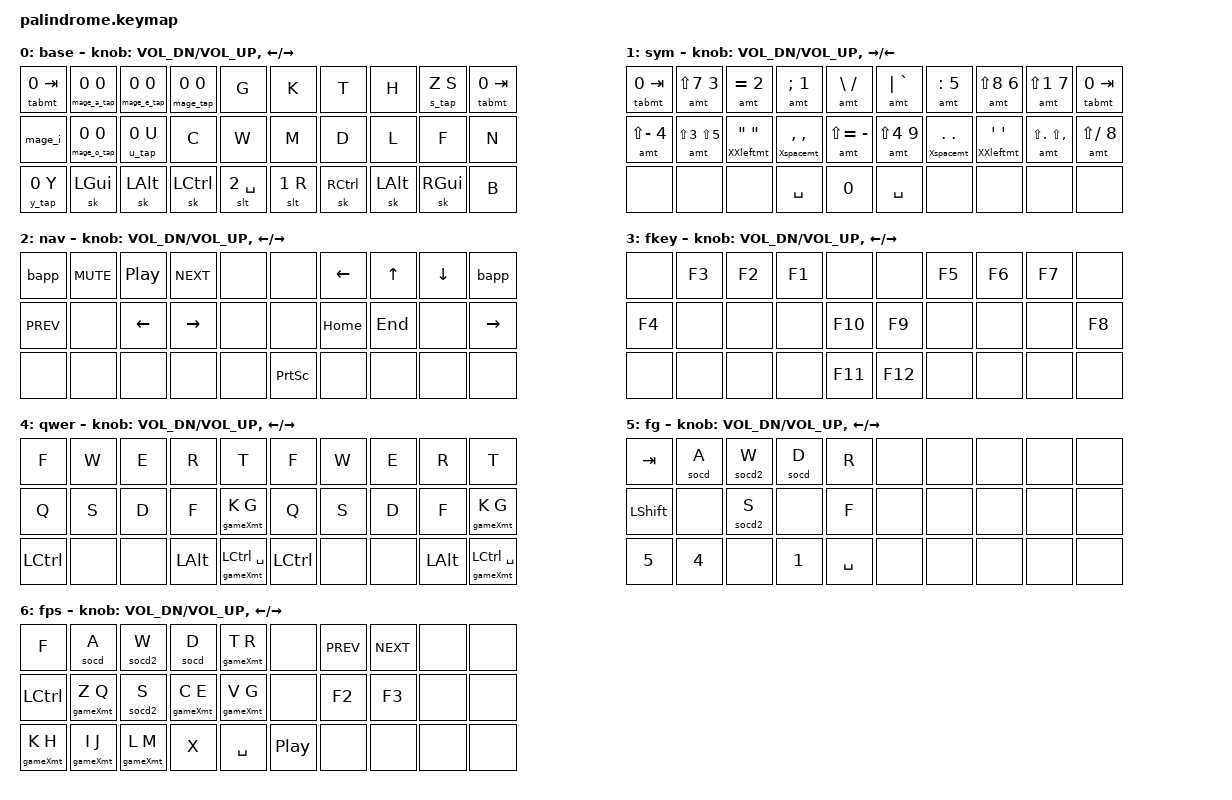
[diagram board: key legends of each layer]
#include "fingermap.h"

/ { 
behaviors { // -----------------------------------------------------------------------------------------------
        hml: home_row_mod_l { 		hold-trigger-key-positions = <  >; 		};
		hmr: home_row_mod_r { 		hold-trigger-key-positions = <  >; 	 }; };
// -----------------------------------------------------------------------------------------------------------

keymap { compatible = "zmk,keymap";
		zero 	{ display-name = "base"; // -------------------
			bindings = < &tabmt 0 TAB  	&mage_a_tap 0 0	&mage_e_tap 0 0	&mage_tap 0 0  	&kp G 				&kp K 	&kp T 		&kp H 		&s_tap Z S	&tabmt 0 TAB
                         &mage_i  		&mage_o_tap 0 0	&u_tap 0 U 		&kp C		  	&kp W 				&kp M  	&kp D  		&kp L   	&kp F		&kp N 
						 &y_tap 0 Y 	&sk LGUI		&sk LALT  		&sk LCTRL  		&slt 2 SPACE 		&slt 1 R &sk RCTRL 	&sk LALT	&sk RGUI	&kp B >;
            sensor-bindings = < &inc_dec_kp C_VOL_DN C_VOL_UP &inc_dec_kp LEFT RIGHT >; };
		one 	{ display-name = "sym"; // --------------------
			bindings = < &tabmt 0 TAB 		&amt LS(N7) N3 		&amt EQUAL N2 		&amt SEMI N1 			&amt BSLH FSLH 				&amt PIPE GRAVE	&amt COLON N5 		&amt LS(N8) N6 			&amt LS(N1) N7 			&tabmt 0 TAB
                     	 &amt LS(MINUS) N4 	&amt LS(N3) LS(N5) 	&XXleftmt DQT DQT 	&Xspacemt COMMA COMMA	&amt LS(EQUAL) MINUS 		&amt LS(N4) N9 	&Xspacemt DOT DOT 	&XXleftmt APOS APOS 	&amt LS(DOT) LS(COMMA) 	&amt LS(FSLH) N8
                     	 &none 				&none 				&none 				&kp SPACE 				&kp N0  					&kp SPACE		&none 				&none 					&none 					&none >; 
            sensor-bindings = < &inc_dec_kp C_VOL_DN C_VOL_UP &inc_dec_kp RIGHT LEFT >; };
		two 	{ display-name = "nav"; // ------------------
			bindings = < &bapp	 	&kp C_MUTE 	&kp C_PP 	&kp C_NEXT 	&none 	&none 		&kp LEFT 	&kp UP 	&kp DOWN 	&bapp
                     	 &kp C_PREV &none 		&kp LEFT	&kp RIGHT	&none 	&none 		&kp HOME	&kp END	&none 		&kp RIGHT
                     	 &none 		&none 		&none 		&none 		&none 	&kp PSCRN 	&none 		&none 	&none 		&none >; 
            sensor-bindings = < &inc_dec_kp C_VOL_DN C_VOL_UP &inc_dec_kp LEFT RIGHT >; };
		three 	{ display-name = "fkey"; // -------------------
			bindings = < &none 	&kp F3 	&kp F2 	&kp F1 	&none  	&none 	&kp F5 	&kp F6 	&kp F7 	&none
                         &kp F4 &none 	&none 	&none 	&kp F10 &kp F9 	&none 	&none 	&none 	&kp F8
                         &none 	&none 	&none 	&none 	&kp F11 &kp F12	&none 	&none 	&none 	&none >;
            sensor-bindings = < &inc_dec_kp C_VOL_DN C_VOL_UP &inc_dec_kp LEFT RIGHT >; };
		four 	{ display-name = "qwer"; // ----------------------
			bindings = < &kp F	 	&kp W 	&kp E 	&kp R 		&kp T 					&kp F	 	&kp W 	&kp E 	&kp R 		&kp T 
                     	 &kp Q 		&kp S	&kp D 	&kp F 		&gameXmt K G 			&kp Q 		&kp S	&kp D 	&kp F 		&gameXmt K G
                     	 &kp LCTRL 	&none 	&none 	&kp LALT 	&gameXmt LCTRL SPACE 	&kp LCTRL 	&none 	&none 	&kp LALT 	&gameXmt LCTRL SPACE >; 
            sensor-bindings = < &inc_dec_kp C_VOL_DN C_VOL_UP &inc_dec_kp LEFT RIGHT >; };
		five 	{ display-name = "fg"; // -----------------
			bindings = < &kp TAB 	&socd A 	&socd2 W 	&socd D 	&kp R 		&none &none &none &none &none 
						 &kp LSHIFT &none 		&socd2 S	&none 		&kp F 		&none &none &none &none &none
						 &kp N5		&kp N4 		&none 		&kp N1 		&kp SPACE 	&none &none &none &none &none >; 
            sensor-bindings = < &inc_dec_kp C_VOL_DN C_VOL_UP &inc_dec_kp LEFT RIGHT >; };
		six 	{ display-name = "fps"; // ------------------------
			bindings = < &kp F 			&socd A			&socd2 W		&socd D			&gameXmt T R 	&none 		&kp C_PREV	&kp	C_NEXT	&none 	&none
                    	 &kp LCTRL 		&gameXmt Z Q 	&socd2 S		&gameXmt C E 	&gameXmt V G 	&none	 	&kp F2		&kp F3		&none 	&none
                    	 &gameXmt K H 	&gameXmt I J	&gameXmt L M	&kp X 			&kp SPACE 		&kp C_PP	&none		&none		&none 	&none >; 
            sensor-bindings = < &inc_dec_kp C_VOL_DN C_VOL_UP &inc_dec_kp LEFT RIGHT >; }; };

combos { compatible = "zmk,combos";
        // alphas ----------------------------------------------------------------------------------------------------------------------------------------
		cbo_z 				{ timeout-ms = <40>; 	key-positions = < 1 11		>; 	bindings = <	&kp Z				>;	layers = <	0			>; 	};
		cbo_q 				{ timeout-ms = <40>; 	key-positions = < 2 12		>; 	bindings = <	&kp Q				>;	layers = <	0			>; 	};
		cbo_p 				{ timeout-ms = <40>; 	key-positions = < 4 14		>; 	bindings = <	&p_tap 0 P			>; 	layers = <	0			>; 	};
		cbo_x 				{ timeout-ms = <40>; 	key-positions = < 5 15		>; 	bindings = <	&kp X				>;	layers = <	0			>; 	};
		cbo_j 				{ timeout-ms = <40>; 	key-positions = < 7 17		>; 	bindings = <	&kp J				>;	layers = <	0			>; 	};
		cbo_v 				{ timeout-ms = <40>; 	key-positions = < 8 18		>; 	bindings = <	&kp V				>;	layers = <	0			>; 	};
		// symbols ---------------------------------------------------------------------------------------------------------------------------------------
		u_cbo_left 			{ timeout-ms = <25>; 	key-positions = < 10 6		>; 	bindings = <	&uc 0x2190 0x2190	>; 	layers = <	1			>;	};
		u_cbo_up 			{ timeout-ms = <25>; 	key-positions = < 2 7		>;	bindings = <	&uc 0x2191 0x2191	>; 	layers = <	1			>;	};
		u_cbo_down 			{ timeout-ms = <25>; 	key-positions = < 1 8		>; 	bindings = <	&uc 0x2193 0x2193	>; 	layers = <	1			>;	};
		u_cbo_right 		{ timeout-ms = <25>; 	key-positions = < 3 19		>; 	bindings = <	&uc 0x2192 0x2192	>;	layers = <	1			>;	};

		cbo_at_caret		{ timeout-ms = <40>; 	key-positions = < 3 13		>; 	bindings = <	&amt LS(N6) LS(N2)	>;	layers = <	1			>; 	};
		cbo_tilde			{ timeout-ms = <40>; 	key-positions = < 2 12		>; 	bindings = <	&kp LS(GRAVE)		>; 	layers = <	1			>; 	};

		cbo_pipe_grave		{ timeout-ms = <40>; 	key-positions = < 6 16		>; 	bindings = <	&amt RPAR LPAR		>;	layers = <	1			>; 	};
		cbo_curlies			{ timeout-ms = <40>; 	key-positions = < 7 17		>; 	bindings = <	&amt RBRC LBRC 		>;	layers = <	1			>; 	};
		cbo_squares			{ timeout-ms = <40>; 	key-positions = < 8 18		>; 	bindings = <	&amt RBKT LBKT		>;	layers = <	1			>; 	};
		// mods ------------------------------------------------------------------------------------------------------------------------------------------
		cbo_shift_l  		{ timeout-ms = <20>; 	key-positions = < 3 13		>; 	bindings = <	&sk LSHIFT			>;  layers = <	0 			>; 	};
		cbo_shift_r			{ timeout-ms = <20>; 	key-positions = < 6 16		>; 	bindings = <	&sk RSHIFT			>;  layers = <	0  			>; 	};

		cbo_del_l			{ timeout-ms = <20>; 	key-positions = < 2 3		>; 	bindings = <	&amt LC(DEL) DEL	>; 	layers = <	0 1 2		>; 	};
		cbo_back_l			{ timeout-ms = <20>; 	key-positions = < 1 3		>; 	bindings = <	&amt RC(BSPC) BSPC	>;	layers = <	0 1 2		>; 	};
		cbo_esc_l			{ timeout-ms = <20>; 	key-positions = < 1 2 3		>; 	bindings = <	&amt LC(ESC) ESC	>;	layers = <	0 1 2		>; 	};
		cbo_enter_l			{ timeout-ms = <20>; 	key-positions = < 1 2		>; 	bindings = <	&amt LS(RET) RET	>; 	layers = <	0 1 2		>; 	};
		cbo_back_r			{ timeout-ms = <20>; 	key-positions = < 6 7		>; 	bindings = <	&amt RC(BSPC) BSPC	>; 	layers = <	0 1 2		>; 	};
		cbo_del_r			{ timeout-ms = <20>; 	key-positions = < 6 8		>;	bindings = <	&amt LC(DEL) DEL	>; 	layers = <	0 1 2		>; 	};
		cbo_esc_r			{ timeout-ms = <20>; 	key-positions = < 6 7 8		>; 	bindings = <	&amt RC(ESC) ESC	>; 	layers = <	0 1 2		>; 	};
		cbo_enter_r			{ timeout-ms = <20>; 	key-positions = < 7 8		>; 	bindings = <	&amt RS(RET) RET	>; 	layers = <	0 1 2		>; 	};
		// arrows ---------------------------------------------------------------------------------------------------------------------------------------------------------------------
		cbo_left 			{ timeout-ms = <25>; 	key-positions = < 10 6		>; 	bindings = <	&amt LC(LEFT)  LEFT	>; 	layers = <	0			>; require-prior-idle-ms = <50>; };
		cbo_up 				{ timeout-ms = <25>; 	key-positions = < 2 7		>;	bindings = <	&amt LC(UP)    UP	>; 	layers = <	0			>; require-prior-idle-ms = <50>; };
		cbo_down 			{ timeout-ms = <25>; 	key-positions = < 1 8		>;	bindings = <	&amt LC(DOWN)  DOWN	>; 	layers = <	0			>; require-prior-idle-ms = <50>; };
		cbo_right 			{ timeout-ms = <25>; 	key-positions = < 3 19		>; 	bindings = <	&amt LC(RIGHT) RIGHT>;	layers = <	0			>; require-prior-idle-ms = <50>; };
		// layers ---------------------------------------------------------------------------------------------------------------------------------------------------------------------
		cbo_default 		{ timeout-ms = <40>;	key-positions = < 2 3 6 7	>;	bindings = <	&to 0				>; 								};
		cbo_default_l 		{ timeout-ms = <40>;	key-positions = < 1 2 3	10 	>;	bindings = <	&to 0				>; 	layers = <	4 5 6		>;	};
		cbo_default_r 		{ timeout-ms = <40>;	key-positions = < 6 7 8 15	>;	bindings = <	&to 0				>; 	layers = <	4 5 6		>;	};
		cbo_fps_l 			{ timeout-ms = <40>; 	key-positions = < 11 12 13	>; 	bindings = <	&to 6				>; 								};
		cbo_qwer_l			{ timeout-ms = <40>; 	key-positions = < 10 13		>; 	bindings = <	&to 4				>; 								};
		cbo_fg_l            { timeout-ms = <40>; 	key-positions = < 10 14		>; 	bindings = <	&to 5				>; 								};
		cbo_fps_r 			{ timeout-ms = <40>; 	key-positions = < 16 17 18	>; 	bindings = <	&to 6				>; 								};
		cbo_qwer_r			{ timeout-ms = <40>; 	key-positions = < 15 18		>; 	bindings = <	&to 4				>; 								};
		cbo_fg_r            { timeout-ms = <40>; 	key-positions = < 15 19		>; 	bindings = <	&to 5				>; 								};
		cbo_fkeys_l			{ timeout-ms = <40>; 	key-positions = < 10 4		>; 	bindings = <	&sl 3				>; 	layers = <	0 1 2		>; 	};
		cbo_fkeys_r 		{ timeout-ms = <40>; 	key-positions = < 5 19		>; 	bindings = <	&sl 3				>; 	layers = <	0 1 2		>; 	};
		// special ---------------------------------------------------------------------------------------------------------------------------------------
		cbo_numword 		{ timeout-ms = <20>; 	key-positions = < 10 3		>; 	bindings = <	&num_word 1			>;  layers = <	0 			>; 	};
		cbo_capsword 		{ timeout-ms = <20>; 	key-positions = < 6 19		>; 	bindings = <	&cmt CAPS 0			>;  layers = <	0 			>; 	};
		cbo_ctl_c  			{ timeout-ms = <20>; 	key-positions = < 2 12		>; 	bindings = <	&kp LC(C)			>;  layers = <	2 			>; 	};
		cbo_ctl_v			{ timeout-ms = <20>; 	key-positions = < 7 17		>; 	bindings = <	&kp LC(V)			>;  layers = <	2  			>; 	};
		cbo_ctl_z  			{ timeout-ms = <20>; 	key-positions = < 3 13		>; 	bindings = <	&kp LC(Z)			>;  layers = <	2 			>; 	};
		cbo_ctl_y			{ timeout-ms = <20>; 	key-positions = < 6 16		>; 	bindings = <	&kp LC(Y)			>;  layers = <	2  			>; 	};
		// window management ----------------------------------------------------------------------------------------------------------------------------------------------------------
		cbo_alwaysontop		{ timeout-ms = <20>; 	key-positions = < 12 13		>; 	bindings = <	&kp LC(LG(T))		>;  layers = <	0 1 2		>; require-prior-idle-ms = <50>; };
		cbo_textextractor	{ timeout-ms = <20>; 	key-positions = < 16 17		>; 	bindings = <	&kp LC(LG(E))		>;  layers = <	0 1 2		>; require-prior-idle-ms = <50>; };
		cbo_dsktop_right	{ timeout-ms = <20>; 	key-positions = < 3 7		>; 	bindings = <	&kp LC(LG(RIGHT))	>;  layers = <	0 1 2		>; require-prior-idle-ms = <50>; };
		cbo_dsktop_left		{ timeout-ms = <20>; 	key-positions = < 2 6		>; 	bindings = <	&kp LC(LG(LEFT))	>;  layers = <	0 1 2		>; require-prior-idle-ms = <50>; };
		cbo_tab_right		{ timeout-ms = <20>; 	key-positions = < 13 17		>; 	bindings = <	&kp LC(TAB)			>;  layers = <	0 1 2		>; require-prior-idle-ms = <50>; };
		cbo_tab_left		{ timeout-ms = <20>; 	key-positions = < 12 16		>; 	bindings = <	&kp LC(LS(TAB))		>;  layers = <	0 1 2		>; require-prior-idle-ms = <50>; };
		// game -----------------------------------------------------------------------------------------------------------------------------------------------------------------------
		g_cbo_discord		{ timeout-ms = <50>; 	key-positions = < 0 24		>; 	bindings = <	&kp LS(GRAVE)		>; 	layers = <	4 5 6		>; 	};

		g_cbo_tab_l			{ timeout-ms = <50>; 	key-positions = < 1 3		>; 	bindings = <	&kp TAB				>; 	layers = <	4 5 6		>; 	};
		g_cbo_esc_l			{ timeout-ms = <50>; 	key-positions = < 1 2 3		>; 	bindings = <	&kp ESC				>; 	layers = <	4 5 6		>; 	};

		qwer_cbo_1_l 		{ timeout-ms = <75>; 	key-positions = < 1 11		>; 	bindings = <	&kp N1				>; 	layers = <	4			>; 	};
		qwer_cbo_2_l 		{ timeout-ms = <75>; 	key-positions = < 2 12		>; 	bindings = <	&kp N2				>; 	layers = <	4			>; 	};
		qwer_cbo_3_l 		{ timeout-ms = <75>; 	key-positions = < 3 13		>; 	bindings = <	&kp N3				>; 	layers = <	4			>; 	};
		qwer_cbo_4_l 		{ timeout-ms = <75>; 	key-positions = < 4 14		>; 	bindings = <	&kp N4				>; 	layers = <	4			>; 	};

		fps_cbo_1_l 		{ timeout-ms = <75>; 	key-positions = < 3 13		>; 	bindings = <	&kp N1				>; 	layers = <	6			>; 	};
		fps_cbo_2_l 		{ timeout-ms = <75>; 	key-positions = < 1 11		>; 	bindings = <	&kp N2				>; 	layers = <	6			>; 	};
		fps_cbo_b_l			{ timeout-ms = <50>; 	key-positions = < 12 13		>; 	bindings = <	&kp B				>; 	layers = <	6 			>; 	};

		g_cbo_tab_r			{ timeout-ms = <50>; 	key-positions = < 6 8		>; 	bindings = <	&kp TAB				>; 	layers = <	4 5 6		>; 	};
		g_cbo_esc_r			{ timeout-ms = <50>; 	key-positions = < 6 7 8		>; 	bindings = <	&kp ESC				>; 	layers = <	4 5 6		>; 	};

		qwer_cbo_1_r 		{ timeout-ms = <75>; 	key-positions = < 6 16		>; 	bindings = <	&kp N1				>; 	layers = <	4			>; 	};
		qwer_cbo_2_r 		{ timeout-ms = <75>; 	key-positions = < 7 17		>; 	bindings = <	&kp N2				>; 	layers = <	4			>; 	};
		qwer_cbo_3_r 		{ timeout-ms = <75>; 	key-positions = < 8 18		>; 	bindings = <	&kp N3				>; 	layers = <	4			>; 	};
		qwer_cbo_4_r 		{ timeout-ms = <75>; 	key-positions = < 9 19		>; 	bindings = <	&kp N4				>; 	layers = <	4			>; 	};

		fps_cbo_1_r 		{ timeout-ms = <75>; 	key-positions = < 8 18		>; 	bindings = <	&kp N1				>; 	layers = <	6			>; 	};
		fps_cbo_2_r 		{ timeout-ms = <75>; 	key-positions = < 6 16		>; 	bindings = <	&kp N2				>; 	layers = <	6			>; 	};
		fps_cbo_b_r			{ timeout-ms = <50>; 	key-positions = < 17 18		>; 	bindings = <	&kp B				>; 	layers = <	6  	   >; }; }; };
